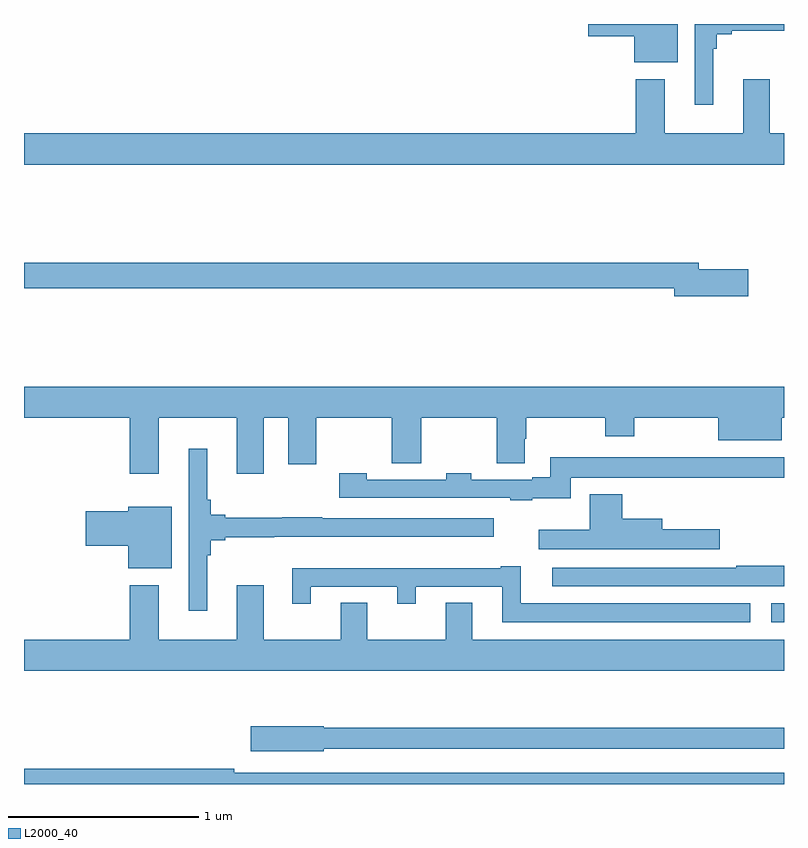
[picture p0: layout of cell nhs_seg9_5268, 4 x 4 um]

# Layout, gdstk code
import gdstk
lib = gdstk.Library(unit=1e-6, precision=1e-09)
def R(c, l, rs):  # rectangles x0, y0, x1, y1
    for r in rs: c.add(gdstk.rectangle(r[:2], r[2:], *l))
def P(c, l, *ps):  # polygons
    for p in ps: c.add(gdstk.Polygon(p, *l))
L2000_40 = (2000, 40)

nhs_seg9_5268 = lib.new_cell('nhs_seg9_5268')
R(nhs_seg9_5268, L2000_40, [(420.933,1187.351,421,1187.452)])
P(nhs_seg9_5268, L2000_40, [(420.442,1190.5),(419.97,1190.5),(419.97,1190.435),(420.212,1190.435),(420.212,1190.3),(420.442,1190.3)],
  [(420.628,1190.369),(420.647,1190.369),(420.647,1190.446),(420.724,1190.446),(420.724,1190.464),(420.98,1190.464),(420.98,1190.465),(421,1190.465),(421,1190.5),(420.531,1190.5),(420.531,1190.076),(420.628,1190.076)],
  [(421,1189.924),(420.925,1189.924),(420.925,1190.209),(420.785,1190.209),(420.785,1189.924),(420.373,1189.924),(420.373,1190.209),(420.221,1190.209),(420.221,1189.924),(417,1189.924),(417,1189.76),(421,1189.76)],
  [(420.811,1189.208),(420.55,1189.208),(420.55,1189.244),(417,1189.244),(417,1189.108),(420.422,1189.108),(420.422,1189.066),(420.811,1189.066)],
  [(417.709,1188.428),(418.121,1188.428),(418.121,1188.132),(418.261,1188.132),(418.261,1188.428),(418.391,1188.428),(418.391,1188.183),(418.539,1188.183),(418.539,1188.428),(418.936,1188.428),(418.936,1188.187),(419.09,1188.187),(419.09,1188.428),(419.488,1188.428),(419.488,1188.187),(419.635,1188.187),(419.635,1188.316),(419.643,1188.316),(419.643,1188.428),(420.058,1188.428),(420.058,1188.329),(420.213,1188.329),(420.213,1188.428),(420.653,1188.428),(420.653,1188.308),(420.988,1188.308),(420.988,1188.428),(421,1188.428),(421,1188.592),(417,1188.592),(417,1188.428),(417.557,1188.428),(417.557,1188.132),(417.709,1188.132)],
  [(417.964,1187.705),(417.983,1187.705),(417.983,1187.782),(418.06,1187.782),(418.06,1187.8),(418.316,1187.8),(418.316,1187.801),(419.473,1187.801),(419.473,1187.898),(418.571,1187.898),(418.571,1187.903),(418.36,1187.903),(418.36,1187.901),(418.06,1187.901),(418.06,1187.918),(417.983,1187.918),(417.983,1187.995),(417.964,1187.995),(417.964,1188.265),(417.867,1188.265),(417.867,1187.412),(417.964,1187.412)],
  [(419.674,1188.005),(419.878,1188.005),(419.878,1188.113),(421,1188.113),(421,1188.22),(419.771,1188.22),(419.771,1188.115),(419.675,1188.115),(419.675,1188.102),(419.355,1188.102),(419.355,1188.135),(419.223,1188.135),(419.223,1188.102),(418.803,1188.102),(418.803,1188.135),(418.659,1188.135),(418.659,1188.006),(419.56,1188.006),(419.56,1187.994),(419.674,1187.994)],
  [(420.661,1187.842),(420.358,1187.842),(420.358,1187.896),(420.149,1187.896),(420.149,1188.025),(419.978,1188.025),(419.978,1187.839),(419.709,1187.839),(419.709,1187.735),(420.661,1187.735)],
  [(417.778,1187.959),(417.548,1187.959),(417.548,1187.936),(417.324,1187.936),(417.324,1187.753),(417.548,1187.753),(417.548,1187.636),(417.778,1187.636)],
  [(421,1187.65),(420.748,1187.65),(420.748,1187.637),(419.781,1187.637),(419.781,1187.541),(421,1187.541)],
  [(420.823,1187.452),(419.614,1187.452),(419.614,1187.647),(419.51,1187.647),(419.51,1187.635),(418.412,1187.635),(418.412,1187.448),(418.51,1187.448),(418.51,1187.538),(418.964,1187.538),(418.964,1187.448),(419.062,1187.448),(419.062,1187.538),(419.516,1187.538),(419.516,1187.351),(420.823,1187.351)],
  [(421,1187.26),(419.359,1187.26),(419.359,1187.453),(419.219,1187.453),(419.219,1187.26),(418.807,1187.26),(418.807,1187.453),(418.667,1187.453),(418.667,1187.26),(418.261,1187.26),(418.261,1187.545),(418.121,1187.545),(418.121,1187.26),(417.709,1187.26),(417.709,1187.545),(417.557,1187.545),(417.557,1187.26),(417,1187.26),(417,1187.096),(421,1187.096)],
  [(418.578,1186.686),(421,1186.686),(421,1186.795),(418.578,1186.795),(418.578,1186.803),(418.194,1186.803),(418.194,1186.673),(418.578,1186.673)],
  [(421,1186.56),(418.106,1186.56),(418.106,1186.58),(417,1186.58),(417,1186.5),(421,1186.5)])

lib.write_gds('nhs_seg9_5268.gds')
